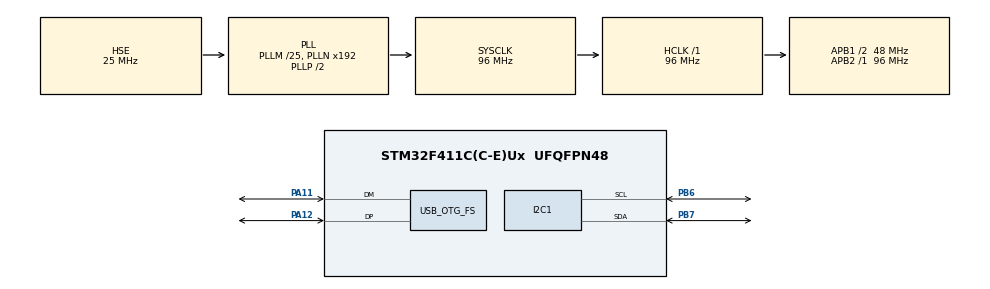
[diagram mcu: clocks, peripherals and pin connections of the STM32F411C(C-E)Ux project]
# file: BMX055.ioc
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I2C1.I2C_Mode=I2C_Standard
Mcu.Family=STM32F4
Mcu.Name=STM32F411C(C-E)Ux
Mcu.Package=UFQFPN48
NVIC.OTG_FS_IRQn=true\:0\:0\:false\:false\:true\:false\:true\:true
NVIC.PriorityGroup=NVIC_PRIORITYGROUP_4
PA11.Mode=Device_Only
PA11.Signal=USB_OTG_FS_DM
PA12.Mode=Device_Only
PA12.Signal=USB_OTG_FS_DP
PB6.Mode=I2C
PB6.Signal=I2C1_SCL
PB7.Mode=I2C
PB7.Signal=I2C1_SDA
PC14-OSC32_IN.Mode=LSE-External-Oscillator
PC14-OSC32_IN.Signal=RCC_OSC32_IN
PC15-OSC32_OUT.Mode=LSE-External-Oscillator
PC15-OSC32_OUT.Signal=RCC_OSC32_OUT
PH0\ -\ OSC_IN.Mode=HSE-External-Oscillator
PH0\ -\ OSC_IN.Signal=RCC_OSC_IN
PH1\ -\ OSC_OUT.Mode=HSE-External-Oscillator
PH1\ -\ OSC_OUT.Signal=RCC_OSC_OUT
ProjectManager.HeapSize=0x200
ProjectManager.StackSize=0x400
ProjectManager.TargetToolchain=STM32CubeIDE
RCC.48MHZClocksFreq_Value=48000000
RCC.AHBFreq_Value=96000000
RCC.APB1CLKDivider=RCC_HCLK_DIV2
RCC.APB1Freq_Value=48000000
RCC.APB1TimFreq_Value=96000000
RCC.APB2Freq_Value=96000000
RCC.APB2TimFreq_Value=96000000
RCC.CortexFreq_Value=96000000
RCC.HCLKFreq_Value=96000000
RCC.HSE_VALUE=25000000
RCC.HSI_VALUE=16000000
RCC.PLLM=25
RCC.SYSCLKFreq_VALUE=96000000
RCC.SYSCLKSource=RCC_SYSCLKSOURCE_PLLCLK
RCC.VCOOutputFreq_Value=192000000
USB_DEVICE.CLASS_NAME_FS=CDC
USB_DEVICE.VirtualMode=Cdc
USB_DEVICE.VirtualModeFS=Cdc_FS
USB_OTG_FS.VirtualMode=Device_Only
VP_USB_DEVICE_VS_USB_DEVICE_CDC_FS.Mode=CDC_FS
board=custom

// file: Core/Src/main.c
/* USER CODE BEGIN Header */
/**
  ******************************************************************************
  * @file           : main.c
  * @brief          : Main program body
  ******************************************************************************
  * @attention
  *
  * Copyright (c) 2022 STMicroelectronics.
  * All rights reserved.
  *
  * This software is licensed under terms that can be found in the LICENSE file
  * in the root directory of this software component.
  * If no LICENSE file comes with this software, it is provided AS-IS.
  *
  ******************************************************************************
  */
/* USER CODE END Header */
#include "main.h"
#include "usb_device.h"

/* USER CODE BEGIN Includes */
#include "BMX055.h"
/* USER CODE END Includes */

 I2C_HandleTypeDef hi2c1;

/* USER CODE BEGIN PV */
uint8_t buffer[100] = "Hello World";
/* USER CODE END PV */

void SystemClock_Config(void);
static void MX_GPIO_Init(void);
static void MX_I2C1_Init(void);
/* USER CODE BEGIN PFP */
extern uint8_t CDC_Transmit_FS(uint8_t* Buf, uint16_t Len);
/* USER CODE END PFP */

/* USER CODE BEGIN 0 */
BMX055_t data_BMX055;
/* USER CODE END 0 */

int main(void)
{
  /* USER CODE BEGIN 1 */
	uint32_t debug = 0;
	uint8_t size = 0;
	uint8_t readData;
	uint8_t writeData;
  /* USER CODE END 1 */

  /* MCU Configuration--------------------------------------------------------*/

  /* Reset of all peripherals, Initializes the Flash interface and the Systick. */
  HAL_Init();

  /* Configure the system clock */
  SystemClock_Config();

  /* Initialize all configured peripherals */
  MX_GPIO_Init();
  MX_I2C1_Init();
  MX_USB_DEVICE_Init();
  /* USER CODE BEGIN 2 */

//  SearchDevice(&hi2c1);

  uint16_t init_tries= 0;
  while(BMX055_Init(&hi2c1) != 0 ){
	  BMX055_Init(&hi2c1);
	  init_tries++;
//	  while(1);
  }

  /* USER CODE END 2 */

  /* Infinite loop */
  while (1)
  {

    /* USER CODE BEGIN 3 */
	  HAL_Delay(100);

	  //debug = BMX055_Init(&hi2c1);
//	  debug = HAL_I2C_Mem_Read(&hi2c1, BMX055_ACC_SLAVE_ADDRESS_DEFAULT<<1, BMX055_WHO_AM_I_REG, 1, &readData, 1, 500);
//	  size = sprintf((char *)buffer, "WHO IAM 0x%X Shall be 0x%X\n\r", (int)readData, (int)BMX055_ACC_DEVICE);
//	  CDC_Transmit_FS(buffer, size);
//	  debug = 0;
//
//	  debug = HAL_I2C_Mem_Read(&hi2c1, BMX055_GYRO_SLAVE_ADDRESS_DEFAULT<<1, BMX055_WHO_AM_I_REG, 1, &readData, 1, 500);
//	  size = sprintf((char *)buffer, "WHO IAM 0x%X Shall be 0x%X\n\r", (int)readData, (int)0x0F);
//	  CDC_Transmit_FS(buffer, size);
//	  debug = 0;
//
//	  /* Wakeup Magnetometer */
//	  writeData = 0x01;
//	  HAL_I2C_Mem_Write(&hi2c1, BMX055_MAG_SLAVE_ADDRESS_DEFAULT<<1, BMX055_MAG_POW_CTL_REG, 1, &writeData, 1, 500);
//	  debug = HAL_I2C_Mem_Read(&hi2c1, BMX055_MAG_SLAVE_ADDRESS_DEFAULT<<1, BMX055_WHO_AM_I_MAG_REG, 1, &readData, 1, 500);
//	  size = sprintf((char *)buffer, "WHO IAM 0x%X Shall be 0x%X\n\r", (int)readData, (int)0x32);
//	  CDC_Transmit_FS(buffer, size);
//	  debug= 0;

	  int16_t rawAcc[3];
	  int16_t rawGyro[3];
	  int16_t rawMag[4];
	  float temp;
//	  readAccelData(rawAcc, &hi2c1);
	  size = sprintf((char *)buffer, "Acc: %d %d %d ", (int)rawAcc[0], (int)rawAcc[1], (int)rawAcc[2]);
//	  CDC_Transmit_FS(buffer, size);
	  HAL_Delay(2);

	  /* Read all sensors acc,gyro,mag */
	  BMX055_readAllSensors(&hi2c1, &data_BMX055);
	  size = sprintf((char *)buffer, "/*%.2f,%.2f,%.2f,",data_BMX055.AccelX, data_BMX055.AccelY, data_BMX055.AccelZ);
	  CDC_Transmit_FS(buffer, size);
	  HAL_Delay(2);

	  /* Get temperature from sensor BMX055 */
	  readTemp_BMX055(&temp, &hi2c1);
	  size = sprintf((char *)buffer, "%.2f,",temp);
	  CDC_Transmit_FS(buffer, size);
	  HAL_Delay(2);

//	  readGyroData(rawGyro, &hi2c1);
	  size = sprintf((char *)buffer, "%d,%d,%d,",rawGyro[0], rawGyro[1], rawGyro[2]);
//	  CDC_Transmit_FS(buffer, size);
	  HAL_Delay(2);

	  size = sprintf((char *)buffer, "%.2f,%.2f,%.2f,",data_BMX055.GyroX, data_BMX055.GyroY, data_BMX055.GyroZ);
	  CDC_Transmit_FS(buffer, size);
	  HAL_Delay(2);

	  readMagData(rawMag, &hi2c1);
	  size = sprintf((char *)buffer, "%d,%d,%d,%d*/\n\r",rawMag[0], rawMag[1], rawMag[2],rawMag[3]);
	  CDC_Transmit_FS(buffer, size);
	  HAL_Delay(2);

  }
  /* USER CODE END 3 */
}

void SystemClock_Config(void)
{
  RCC_OscInitTypeDef RCC_OscInitStruct = {0};
  RCC_ClkInitTypeDef RCC_ClkInitStruct = {0};

  /** Configure the main internal regulator output voltage
  */
  __HAL_RCC_PWR_CLK_ENABLE();
  __HAL_PWR_VOLTAGESCALING_CONFIG(PWR_REGULATOR_VOLTAGE_SCALE1);

  /** Initializes the RCC Oscillators according to the specified parameters
  * in the RCC_OscInitTypeDef structure.
  */
  RCC_OscInitStruct.OscillatorType = RCC_OSCILLATORTYPE_HSE;
  RCC_OscInitStruct.HSEState = RCC_HSE_ON;
  RCC_OscInitStruct.PLL.PLLState = RCC_PLL_ON;
  RCC_OscInitStruct.PLL.PLLSource = RCC_PLLSOURCE_HSE;
  RCC_OscInitStruct.PLL.PLLM = 25;
  RCC_OscInitStruct.PLL.PLLN = 192;
  RCC_OscInitStruct.PLL.PLLP = RCC_PLLP_DIV2;
  RCC_OscInitStruct.PLL.PLLQ = 4;
  if (HAL_RCC_OscConfig(&RCC_OscInitStruct) != HAL_OK)
  {
    Error_Handler();
  }

  /** Initializes the CPU, AHB and APB buses clocks
  */
  RCC_ClkInitStruct.ClockType = RCC_CLOCKTYPE_HCLK|RCC_CLOCKTYPE_SYSCLK
                              |RCC_CLOCKTYPE_PCLK1|RCC_CLOCKTYPE_PCLK2;
  RCC_ClkInitStruct.SYSCLKSource = RCC_SYSCLKSOURCE_PLLCLK;
  RCC_ClkInitStruct.AHBCLKDivider = RCC_SYSCLK_DIV1;
  RCC_ClkInitStruct.APB1CLKDivider = RCC_HCLK_DIV2;
  RCC_ClkInitStruct.APB2CLKDivider = RCC_HCLK_DIV1;

  if (HAL_RCC_ClockConfig(&RCC_ClkInitStruct, FLASH_LATENCY_3) != HAL_OK)
  {
    Error_Handler();
  }
}

static void MX_I2C1_Init(void)
{

  hi2c1.Instance = I2C1;
  hi2c1.Init.ClockSpeed = 100000;
  hi2c1.Init.DutyCycle = I2C_DUTYCYCLE_2;
  hi2c1.Init.OwnAddress1 = 0;
  hi2c1.Init.AddressingMode = I2C_ADDRESSINGMODE_7BIT;
  hi2c1.Init.DualAddressMode = I2C_DUALADDRESS_DISABLE;
  hi2c1.Init.OwnAddress2 = 0;
  hi2c1.Init.GeneralCallMode = I2C_GENERALCALL_DISABLE;
  hi2c1.Init.NoStretchMode = I2C_NOSTRETCH_DISABLE;
  if (HAL_I2C_Init(&hi2c1) != HAL_OK)
  {
    Error_Handler();
  }

}

static void MX_GPIO_Init(void)
{

  /* GPIO Ports Clock Enable */
  __HAL_RCC_GPIOC_CLK_ENABLE();
  __HAL_RCC_GPIOH_CLK_ENABLE();
  __HAL_RCC_GPIOA_CLK_ENABLE();
  __HAL_RCC_GPIOB_CLK_ENABLE();

}

void Error_Handler(void)
{
  __disable_irq();
  while (1)
  {
  }
}
